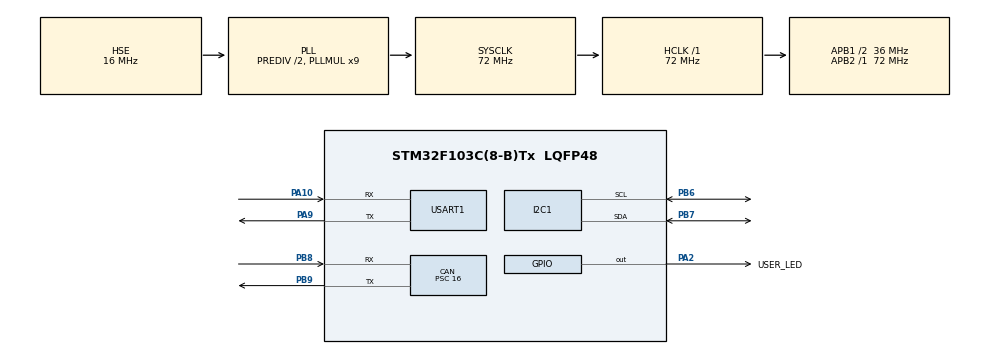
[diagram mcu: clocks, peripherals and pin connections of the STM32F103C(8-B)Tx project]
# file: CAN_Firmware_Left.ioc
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CAN.BS1=CAN_BS1_4TQ
CAN.BS2=CAN_BS2_4TQ
CAN.CalculateBaudRate=250000
CAN.CalculateTimeBit=4000
CAN.CalculateTimeQuantum=444.44444444444446
CAN.Mode=CAN_MODE_NORMAL
CAN.NART=ENABLE
CAN.Prescaler=16
CAN.SJW=CAN_SJW_2TQ
Mcu.Family=STM32F1
Mcu.Name=STM32F103C(8-B)Tx
Mcu.Package=LQFP48
NVIC.PriorityGroup=NVIC_PRIORITYGROUP_4
NVIC.USART1_IRQn=true\:0\:0\:false\:false\:true\:true\:true\:true
NVIC.USB_LP_CAN1_RX0_IRQn=true\:0\:0\:false\:false\:true\:true\:true\:true
PA10.Mode=Asynchronous
PA10.Signal=USART1_RX
PA13.Mode=Serial_Wire
PA13.Signal=SYS_JTMS-SWDIO
PA14.Mode=Serial_Wire
PA14.Signal=SYS_JTCK-SWCLK
PA2.GPIO_Label=USER_LED
PA2.Signal=GPIO_Output
PA9.Mode=Asynchronous
PA9.Signal=USART1_TX
PB6.Mode=I2C
PB6.Signal=I2C1_SCL
PB7.Mode=I2C
PB7.Signal=I2C1_SDA
PB8.GPIO_PuPd=GPIO_PULLUP
PB8.Mode=CAN_Activate
PB8.Signal=CAN_RX
PB9.Mode=CAN_Activate
PB9.Signal=CAN_TX
PD0-OSC_IN.Mode=HSE-External-Oscillator
PD0-OSC_IN.Signal=RCC_OSC_IN
PD1-OSC_OUT.Mode=HSE-External-Oscillator
PD1-OSC_OUT.Signal=RCC_OSC_OUT
ProjectManager.HeapSize=0x200
ProjectManager.StackSize=0x400
ProjectManager.TargetToolchain=Makefile
RCC.AHBFreq_Value=72000000
RCC.APB1CLKDivider=RCC_HCLK_DIV2
RCC.APB1Freq_Value=36000000
RCC.APB1TimFreq_Value=72000000
RCC.APB2Freq_Value=72000000
RCC.APB2TimFreq_Value=72000000
RCC.HCLKFreq_Value=72000000
RCC.HSEDivPLL=RCC_HSE_PREDIV_DIV2
RCC.HSE_VALUE=16000000
RCC.PLLMUL=RCC_PLL_MUL9
RCC.PLLSourceVirtual=RCC_PLLSOURCE_HSE
RCC.SYSCLKFreq_VALUE=72000000
RCC.SYSCLKSource=RCC_SYSCLKSOURCE_PLLCLK
RCC.USBFreq_Value=48000000
RCC.USBPrescaler=RCC_USBCLKSOURCE_PLL_DIV1_5
USART1.VirtualMode=VM_ASYNC
board=custom

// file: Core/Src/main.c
/* USER CODE BEGIN Header */
/**
  ******************************************************************************
  * @file           : main.c
  * @brief          : Main program body
  ******************************************************************************
  * @attention
  *
  * Copyright (c) 2025 STMicroelectronics.
  * All rights reserved.
  *
  * This software is licensed under terms that can be found in the LICENSE file
  * in the root directory of this software component.
  * If no LICENSE file comes with this software, it is provided AS-IS.
  *
  ******************************************************************************
  */
/* USER CODE END Header */
#include "main.h"
#include "can.h"
#include "i2c.h"
#include "usart.h"
#include "gpio.h"

/* USER CODE BEGIN Includes */
#include <stdio.h>
#include <stdlib.h>
#include "cli.h"
#include "stm32f1xx_hal_gpio.h"
#include <string.h>

/* USER CODE END Includes */

/* USER CODE BEGIN PD */
static cli_status_t set_bms(int argc, char **argv);
void user_uart_println(char *string);
void CANSend_BMS(int target);

/* USER CODE END PD */

/* USER CODE BEGIN PV */

cmd_t cmd_tbl[] = {
  {.cmd = "set", .func = set_bms},
};
cli_t cli;
uint8_t rx_data[2];

CAN_TxHeaderTypeDef   TxHeader;
CAN_RxHeaderTypeDef   RxHeader; //CAN Bus Transmit Header
uint8_t               TxData[8];
uint32_t              TxMailbox;
CAN_FilterTypeDef canfil; //CAN Bus Filter
uint32_t canMailbox; //CAN Bus Mail box variable

uint8_t canRX[8] = {0x0,0x0,0x0,0x0,0x0,0x0,0x0,0x0};  //CAN Bus Receive Buffer
uint8_t buffer[1];
int bms_value = 0;

/* USER CODE END PV */

void SystemClock_Config(void);
/* USER CODE BEGIN PFP */
#define PUTCHAR_PROTOTYPE int __io_putchar(int ch)

/* USER CODE END PFP */

int main(void)
{

  /* MCU Configuration--------------------------------------------------------*/

  /* Reset of all peripherals, Initializes the Flash interface and the Systick. */
  HAL_Init();

  /* Configure the system clock */
  SystemClock_Config();

  /* Initialize all configured peripherals */
  MX_GPIO_Init();
  MX_CAN_Init();
  MX_I2C1_Init();
  MX_USART1_UART_Init();
  /* USER CODE BEGIN 2 */

  // configuring the HAL uart interupt
  HAL_UART_Receive_IT(&huart1, rx_data, 1);

  cli.println = user_uart_println;
  cli.cmd_tbl = cmd_tbl;
  cli.cmd_cnt = sizeof(cmd_tbl) / sizeof(cmd_t);
  cli.println("VCU (v1.0) Test Suite v0.1\r\n");
  cli_init(&cli);

  canfil.FilterBank = 0;
  canfil.FilterMode = CAN_FILTERMODE_IDMASK;
  canfil.FilterFIFOAssignment = CAN_RX_FIFO0;
  canfil.FilterIdHigh = 0;
  canfil.FilterIdLow = 0;
  canfil.FilterMaskIdHigh = 0;
  canfil.FilterMaskIdLow = 0;
  canfil.FilterScale = CAN_FILTERSCALE_32BIT;
  canfil.FilterActivation = ENABLE;
  canfil.SlaveStartFilterBank = 14;

  HAL_CAN_ConfigFilter(&hcan,&canfil);
  HAL_CAN_Start(&hcan);
  HAL_CAN_ActivateNotification(&hcan,CAN_IT_RX_FIFO0_MSG_PENDING);

  if (HAL_CAN_ActivateNotification(&hcan, CAN_IT_RX_FIFO0_MSG_PENDING) != HAL_OK)
  {
	  Error_Handler();
  }

  int toggle = 0;

  HAL_GPIO_TogglePin(USER_LED_GPIO_Port, USER_LED_Pin);

  /* USER CODE END 2 */

  /* Infinite loop */
  /* USER CODE BEGIN WHILE */
  while (1)
  {

    cli_process(&cli);

    /* USER CODE END WHILE */

  }
}

void SystemClock_Config(void)
{
  RCC_OscInitTypeDef RCC_OscInitStruct = {0};
  RCC_ClkInitTypeDef RCC_ClkInitStruct = {0};

  /** Initializes the RCC Oscillators according to the specified parameters
  * in the RCC_OscInitTypeDef structure.
  */
  RCC_OscInitStruct.OscillatorType = RCC_OSCILLATORTYPE_HSE;
  RCC_OscInitStruct.HSEState = RCC_HSE_ON;
  RCC_OscInitStruct.HSEPredivValue = RCC_HSE_PREDIV_DIV2;
  RCC_OscInitStruct.HSIState = RCC_HSI_ON;
  RCC_OscInitStruct.PLL.PLLState = RCC_PLL_ON;
  RCC_OscInitStruct.PLL.PLLSource = RCC_PLLSOURCE_HSE;
  RCC_OscInitStruct.PLL.PLLMUL = RCC_PLL_MUL9;
  if (HAL_RCC_OscConfig(&RCC_OscInitStruct) != HAL_OK)
  {
    Error_Handler();
  }

  /** Initializes the CPU, AHB and APB buses clocks
  */
  RCC_ClkInitStruct.ClockType = RCC_CLOCKTYPE_HCLK|RCC_CLOCKTYPE_SYSCLK
                              |RCC_CLOCKTYPE_PCLK1|RCC_CLOCKTYPE_PCLK2;
  RCC_ClkInitStruct.SYSCLKSource = RCC_SYSCLKSOURCE_PLLCLK;
  RCC_ClkInitStruct.AHBCLKDivider = RCC_SYSCLK_DIV1;
  RCC_ClkInitStruct.APB1CLKDivider = RCC_HCLK_DIV2;
  RCC_ClkInitStruct.APB2CLKDivider = RCC_HCLK_DIV1;

  if (HAL_RCC_ClockConfig(&RCC_ClkInitStruct, FLASH_LATENCY_2) != HAL_OK)
  {
    Error_Handler();
  }
}

/* USER CODE BEGIN 4 */

void HAL_UART_RxCpltCallback(UART_HandleTypeDef *huart) {
  HAL_UART_Receive_IT(&huart1, rx_data, 1);
  cli_put(&cli, rx_data[0]);
  user_uart_println((char *)rx_data);
}

// PUTCHAR_PROTOTYPE
// {
//   /* Place your implementation of fputc here */
//   /* e.g. write a character to the USART1 and Loop until the end of transmission */
//   HAL_UART_Transmit(&huart1, (uint8_t *)&ch, 1, 0xFFFF);

//   return ch;
// }

// void send_uart_message(char *message) {
//     HAL_UART_Transmit(&huart1, (uint8_t *)message, strlen(message), HAL_MAX_DELAY);
// }

void user_uart_println(char *string) {
  HAL_UART_Transmit(&huart1, (uint8_t *)string, strlen(string), HAL_MAX_DELAY);
}

// void printRPM(uint8_t LSB, uint8_t MSB){
//   int RPM;
//   RPM = MSB * 256 + LSB;
//   printf("RPM: %d", RPM);
// }

// This function assumes the 16 bit votlage is a uint16 in volts

void CANSend_BMS(int target){

  if(target > 0)
  {
    TxHeader.IDE = CAN_ID_STD;
    TxHeader.StdId = 0x6B0;
    TxHeader.RTR = CAN_RTR_DATA;
    TxHeader.DLC = 8;

    TxData[0] = 0x9;
    TxData[1] = 0x10;
    TxData[2] = target & 0xFF;
    TxData[3] = (target >> 8) & 0xFF;
    TxData[4] = 0x05;
    TxData[5] = 0x06;
    TxData[6] = 0x07;
    TxData[7] = 0x11;
  } else {
    TxHeader.IDE = CAN_ID_STD;
    TxHeader.StdId = 0x6B0;
    TxHeader.RTR = CAN_RTR_DATA;
    TxHeader.DLC = 8;

    TxData[0] = 0x9;
    TxData[1] = 0x10;
    TxData[2] = 0x00;
    TxData[3] = 0x00;
    TxData[4] = 0x05;
    TxData[5] = 0x06;
    TxData[6] = 0x07;
    TxData[7] = 0x11;
  }
  if (HAL_CAN_AddTxMessage(&hcan, &TxHeader, TxData, &TxMailbox) != HAL_OK)
  {
    Error_Handler ();
  }

}

cli_status_t set_bms(int argc, char **argv) {
  if (argc == 2) {
    bms_value = atoi(argv[1]);
    cli.println("BMS VALUE: ");
    cli.println(argv[1]);
    CANSend_BMS(bms_value);
    HAL_GPIO_TogglePin(USER_LED_GPIO_Port, USER_LED_Pin);

  } else {
    cli.println("ERROR");
    return CLI_E_INVALID_ARGS;
  }
  return CLI_OK;
}

/* USER CODE END 4 */

void Error_Handler(void)
{
  /* USER CODE BEGIN Error_Handler_Debug */
  /* User can add his own implementation to report the HAL error return state */
  __disable_irq();
  while (1)
  {
    //printf("bruh");
    HAL_GPIO_TogglePin(USER_LED_GPIO_Port, USER_LED_Pin);
    HAL_Delay(200);
  }
  /* USER CODE END Error_Handler_Debug */
}
